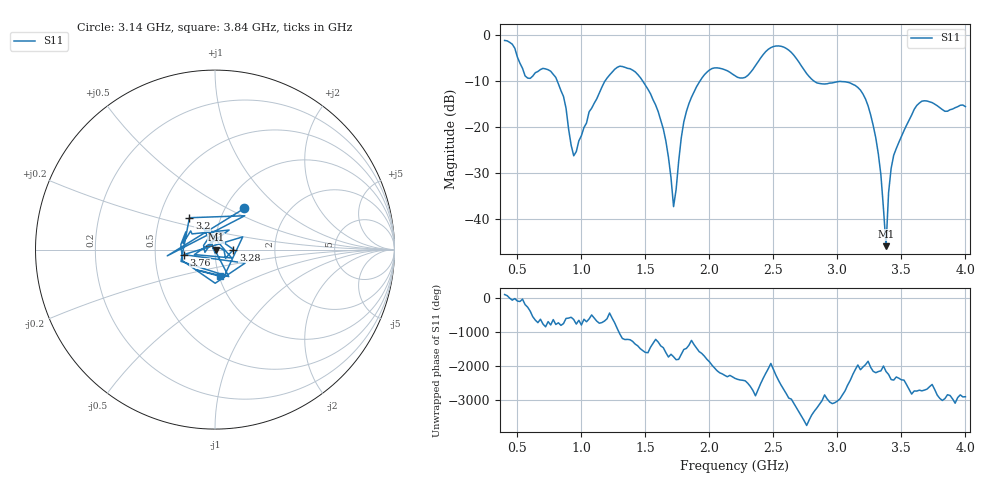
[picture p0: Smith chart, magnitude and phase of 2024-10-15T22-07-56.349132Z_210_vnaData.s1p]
! Created with skrf (http://scikit-rf.org).
# Hz S RI R 50.0
!freq ReS11 ImS11
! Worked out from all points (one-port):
!   181 points, 400 MHz to 4 GHz, reference 50 ohm
!   lowest |S11| = -46.0 dB at 3.38 GHz (marker M1), VSWR 1.01, Z = 50.5 - j0.031 ohm
!   |S11| at or under -10 dB: 810.8 MHz to 1.185 GHz (374.3 MHz wide, 37.5 % of centre); 1.478 GHz to 1.927 GHz (448.8 MHz wide, 26.4 % of centre); 2.815 GHz to end of sweep
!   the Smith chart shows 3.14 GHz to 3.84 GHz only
!   S11 on the Smith chart (normalised r, x): 3.14 GHz: 1.22, +0.61; 3.2 GHz: 0.71, +0.27; 3.28 GHz: 1.23, +0.00; 3.76 GHz: 0.70, -0.04; 3.84 GHz: 1.02, -0.30
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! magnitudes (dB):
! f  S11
! 400 MHz  -1.2
! 560 MHz  -8.9
! 740 MHz  -7.6
! 860 MHz  -13.4
! 940 MHz  -26.3
! 1.3 GHz  -6.8
! 1.6 GHz  -16.7
! 1.66 GHz  -23.1
! 1.72 GHz  -37.3
! 1.76 GHz  -27.5
! 1.82 GHz  -16.7
! 1.94 GHz  -9.4
! 2.2 GHz  -8.9
! 2.5 GHz  -2.5
! 2.66 GHz  -4.4
! 2.84 GHz  -10.4
! 3.1 GHz  -10.4
! 3.14 GHz  -11.0
! 3.2 GHz  -12.9
! 3.28 GHz  -19.7
! 3.34 GHz  -30.5
! 3.38 GHz  -46.0
! 3.4 GHz  -34.3
! 3.42 GHz  -29.0
! 3.56 GHz  -18.6
! 3.76 GHz  -15.0
! 3.84 GHz  -16.6
! 4 GHz  -15.6
